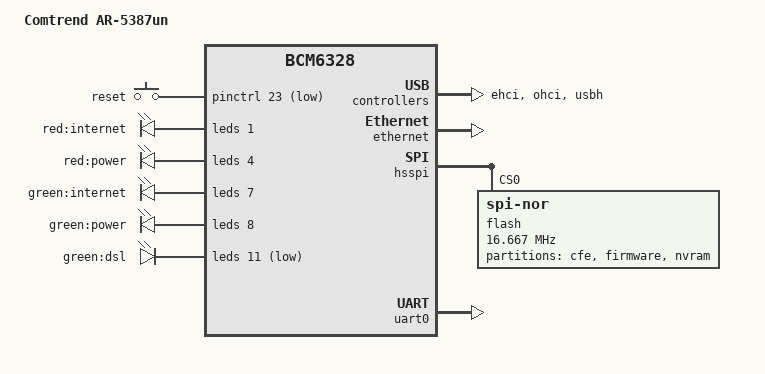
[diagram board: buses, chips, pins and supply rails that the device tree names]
// SPDX-License-Identifier: GPL-2.0-or-later

#include "bcm6328.dtsi"

/ {
	model = "Comtrend AR-5387un";
	compatible = "comtrend,ar-5387un", "brcm,bcm6328";

	aliases {
		led-boot = &led_power_green;
		led-failsafe = &led_power_green;
		led-running = &led_power_green;
		led-upgrade = &led_power_green;
	};

	keys {
		compatible = "gpio-keys-polled";
		poll-interval = <20>;

		reset {
			label = "reset";
			gpios = <&pinctrl 23 GPIO_ACTIVE_LOW>;
			linux,code = <KEY_RESTART>;
			debounce-interval = <60>;
		};
	};
};

&ehci {
	status = "okay";
};

&ethernet {
	status = "okay";

	mtd-mac-address = <&cfe 0x6a0>;
};

&hsspi {
	status = "okay";

	flash@0 {
		compatible = "jedec,spi-nor";
		spi-max-frequency = <16666667>;
		spi-tx-bus-width = <2>;
		spi-rx-bus-width = <2>;
		reg = <0>;

		#address-cells = <1>;
		#size-cells = <1>;

		partitions {
			compatible = "fixed-partitions";
			#address-cells = <1>;
			#size-cells = <1>;

			cfe: partition@0 {
				reg = <0x000000 0x010000>;
				label = "cfe";
				read-only;
			};

			partition@10000 {
				compatible = "brcm,bcm963xx-imagetag";
				reg = <0x010000 0xfe0000>;
				label = "firmware";
			};

			partition@ff0000 {
				reg = <0xff0000 0x010000>;
				label = "nvram";
			};
		};
	};
};

&leds {
	status = "okay";

	pinctrl-names = "default";
	pinctrl-0 = <&pinctrl_leds>;

	led@1 {
		reg = <1>;
		label = "red:internet";
	};

	led@4 {
		reg = <4>;
		label = "red:power";
	};

	led@7 {
		reg = <7>;
		label = "green:internet";
	};

	led_power_green: led@8 {
		reg = <8>;
		label = "green:power";
	};

	led@11 {
		reg = <11>;
		active-low;
		label = "green:dsl";
	};
};

&ohci {
	status = "okay";
};

&pinctrl {
	pinctrl_leds: leds {
		function = "led";
		pins = "gpio1", "gpio4", "gpio7",
		       "gpio8", "gpio11";
	};
};

&switch0 {
	ports {
		port@0 {
			reg = <0>;
			label = "lan1";

			phy-handle = <&phy1>;
		};

		port@1 {
			reg = <1>;
			label = "lan2";

			phy-handle = <&phy2>;
		};

		port@2 {
			reg = <2>;
			label = "lan3";

			phy-handle = <&phy3>;
		};

		port@3 {
			reg = <3>;
			label = "lan4";

			phy-handle = <&phy4>;
		};
	};
};

&uart0 {
	status = "okay";
};

&usbh {
	status = "okay";
};
